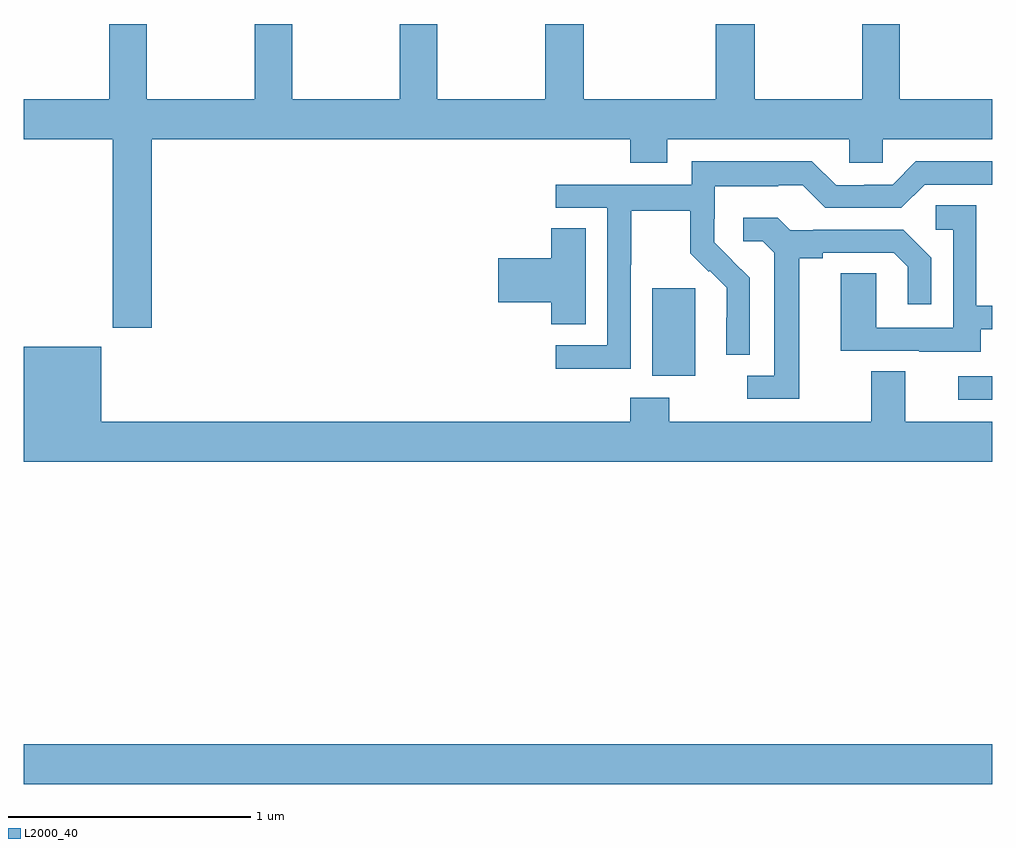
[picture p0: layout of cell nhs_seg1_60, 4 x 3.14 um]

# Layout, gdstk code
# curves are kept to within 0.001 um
import gdstk
lib = gdstk.Library(unit=1e-6, precision=1e-09)
def R(c, l, rs):  # rectangles x0, y0, x1, y1
    for r in rs: c.add(gdstk.rectangle(r[:2], r[2:], *l))
def P(c, l, *ps):  # polygons
    for p in ps: c.add(gdstk.Polygon(p, *l))
L2000_40 = (2000, 40)

nhs_seg1_60 = lib.new_cell('nhs_seg1_60')
R(nhs_seg1_60, L2000_40, [(113,557.06,117,557.224), (116.859,558.648,117,558.744), (115.595,558.746,115.774,559.107)])
P(nhs_seg1_60, L2000_40, [(113.528,559.724),(115.505,559.724),(115.505,559.625),(115.657,559.625),(115.657,559.724),(116.409,559.724),(116.409,559.626),(116.547,559.626),(116.547,559.724),(117,559.724),(117,559.888),(116.619,559.888),(116.619,560.199),(116.464,560.199),(116.464,559.888),(116.019,559.888),(116.019,560.199),(115.859,560.199),(115.859,559.888),(115.313,559.888),(115.313,560.199),(115.153,560.199),(115.153,559.888),(114.708,559.888),(114.708,560.199),(114.553,560.199),(114.553,559.888),(114.108,559.888),(114.108,560.199),(113.953,560.199),(113.953,559.888),(113.508,559.888),(113.508,560.199),(113.353,560.199),(113.353,559.888),(113,559.888),(113,559.724),(113.368,559.724),(113.368,558.945),(113.528,558.945)],
  [(115.506,559.204),(115.509,559.204),(115.509,559.428),(115.753,559.428),(115.753,559.253),(115.83,559.176),(115.833,559.179),(115.904,559.109),(115.904,558.986),(115.902,558.986),(115.902,558.832),(115.998,558.832),(115.998,559.15),(115.852,559.298),(115.852,559.395),(115.854,559.395),(115.854,559.529),(116.117,559.529),(116.117,559.533),(116.217,559.533),(116.31,559.44),(116.625,559.44),(116.721,559.536),(117,559.536),(117,559.632),(116.685,559.632),(116.589,559.536),(116.471,559.536),(116.471,559.533),(116.355,559.533),(116.255,559.633),(115.758,559.633),(115.758,559.536),(115.197,559.536),(115.197,559.44),(115.41,559.44),(115.41,558.873),(115.197,558.873),(115.197,558.775),(115.506,558.775)],
  [(116.953,558.939),(117,558.939),(117,559.035),(116.934,559.035),(116.934,559.451),(116.766,559.451),(116.766,559.35),(116.838,559.35),(116.838,558.945),(116.52,558.945),(116.52,559.169),(116.375,559.169),(116.375,558.849),(116.699,558.849),(116.699,558.845),(116.953,558.845)],
  [(116.203,559.232),(116.299,559.232),(116.299,559.254),(116.594,559.254),(116.651,559.197),(116.651,559.041),(116.748,559.041),(116.748,559.234),(116.632,559.35),(116.26,559.35),(116.26,559.347),(116.166,559.347),(116.114,559.399),(115.971,559.399),(115.971,559.302),(116.052,559.302),(116.099,559.255),(116.099,558.747),(115.989,558.747),(115.989,558.651),(116.203,558.651)],
  [(115.321,559.355),(115.178,559.355),(115.178,559.232),(114.96,559.232),(114.96,559.049),(115.178,559.049),(115.178,558.958),(115.321,558.958)],
  [(117,558.556),(116.641,558.556),(116.641,558.764),(116.501,558.764),(116.501,558.556),(115.665,558.556),(115.665,558.655),(115.505,558.655),(115.505,558.556),(113.32,558.556),(113.32,558.865),(113,558.865),(113,558.392),(117,558.392)])

lib.write_gds('nhs_seg1_60.gds')
